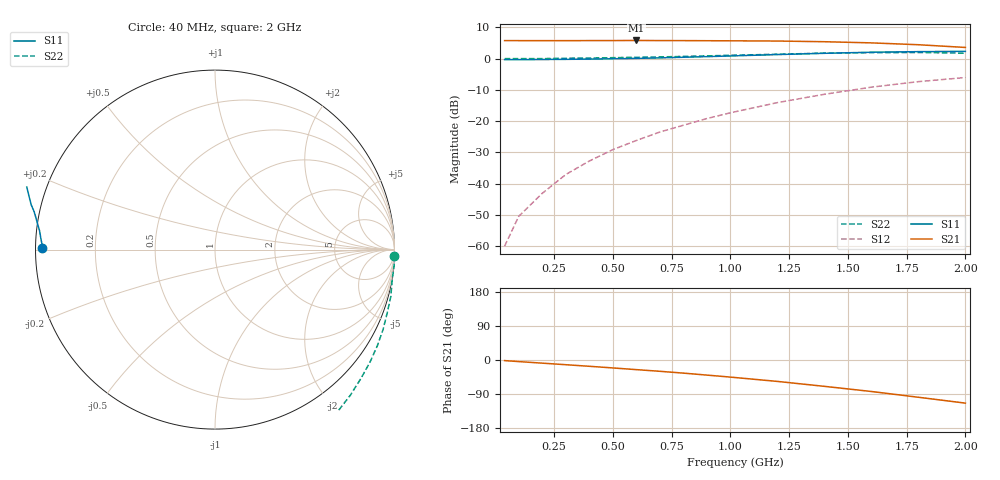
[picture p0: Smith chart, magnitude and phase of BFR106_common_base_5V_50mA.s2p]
! Filename:  BFR106CC.S2P  Version:  2.0
! Philips part #: BFR106  Date: Jul 1990
! Bias condition: Vce=5V, Ic=50mA
! COMMON BASE
#  MHz  S  MA  R  50
! Freq  S11  S21  S12  S22
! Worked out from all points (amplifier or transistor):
!   16 points, 40 MHz to 2 GHz, reference 50 ohm
!   highest |S21| = 5.8 dB at 600 MHz (marker M1)
!   |S21| within 3 dB of that: start of sweep to end of sweep
!   unconditionally stable (mu >= 1): nowhere
!   at 200 MHz: K = -0.53, MSG = 24.4 dB, |S12| = -43.1 dB
!   at 800 MHz: K = -0.93, MSG = 13.5 dB, |S12| = -21.3 dB
!   at 2 GHz: K = -0.84, MSG = 4.8 dB, |S12| = -6.0 dB
40  0.965 179.5  1.945 -1.6  0.001 66.1  1 -1.9
100  0.964 178.2  1.944 -4.2  0.003 106.5  1.002 -5.0
200  0.97 176.9  1.942 -8.3  0.007 118.1  1.002 -9.9
300  0.976 175.4  1.941 -12.4  0.014 131.5  1.014 -15.0
400  0.984 173.7  1.946 -16.6  0.023 135.8  1.022 -20.1
500  0.997 172.0  1.947 -20.9  0.035 138.7  1.037 -25.5
600  1.011 170.2  1.956 -25.4  0.049 138.9  1.051 -30.6
700  1.029 168.2  1.946 -29.8  0.067 139.0  1.067 -35.9
800  1.054 166.3  1.945 -34.6  0.086 138.9  1.085 -41.5
900  1.077 164.1  1.937 -39.8  0.11 136.5  1.108 -47.2
1000  1.105 161.6  1.931 -45.1  0.136 134.0  1.132 -52.9
1200  1.163 156.2  1.915 -56.5  0.198 128.5  1.177 -65.3
1400  1.218 149.7  1.867 -69.5  0.269 120.9  1.226 -78.4
1600  1.267 142.4  1.789 -83.1  0.35 113.1  1.25 -92.0
1800  1.295 134.0  1.671 -98.3  0.429 103.7  1.256 -106.6
2000  1.309 126.5  1.512 -113.8  0.499 94.5  1.225 -121.0
